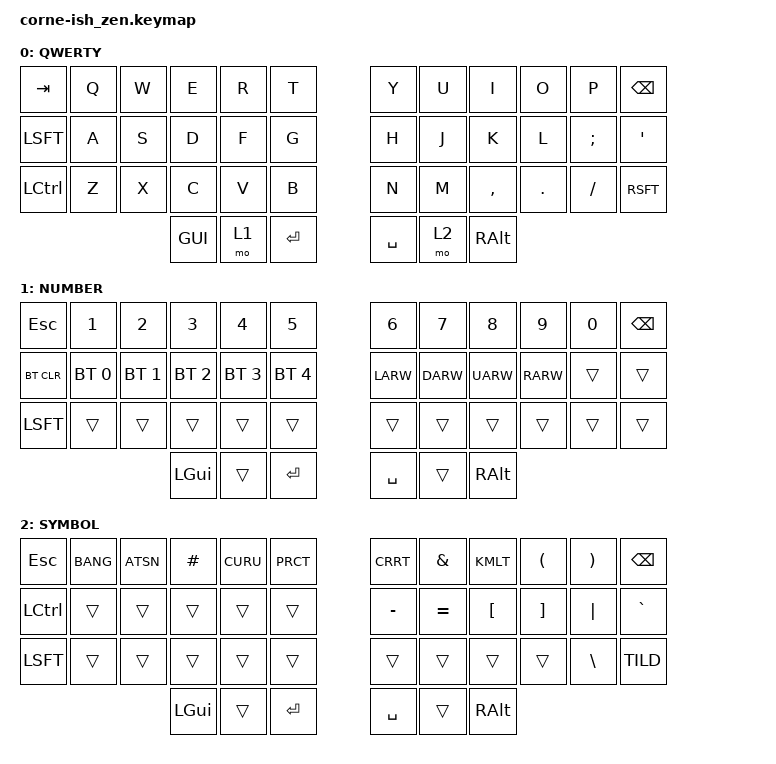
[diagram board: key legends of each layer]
/*
*
* Copyright (c) 2021 Darryl deHaan
* SPDX-License-Identifier: MIT
*
*/

#include <behaviors.dtsi>
#include <dt-bindings/zmk/keys.h>
#include <dt-bindings/zmk/bt.h>

/ {
        keymap {
                compatible = "zmk,keymap";

                default_layer {
                        label = "QWERTY";
// -----------------------------------------------------------------------------------------
// |  TAB |  Q  |  W  |  E  |  R  |  T  |   |  Y  |  U   |  I  |  O  |  P  | BKSP |
// | SHFT |  A  |  S  |  D  |  F  |  G  |   |  H  |  J   |  K  |  L  |  ;  |  '   |
// | CTRL |  Z  |  X  |  C  |  V  |  B  |   |  N  |  M   |  ,  |  .  |  /  | SHFT |
//                    | GUI | LWR | ENT |   | SPC | RSE  | ALT |
                        bindings = <
   &kp TAB  &kp Q &kp W &kp E &kp R &kp T   &kp Y &kp U  &kp I    &kp O   &kp P    &kp BKSP
   &kp LSFT &kp A &kp S &kp D &kp F &kp G   &kp H &kp J  &kp K    &kp L   &kp SCLN &kp QUOT
   &kp LCTL &kp Z &kp X &kp C &kp V &kp B   &kp N &kp M  &kp CMMA &kp DOT &kp FSLH &kp RSFT
                   &kp GUI &mo 1   &kp RET &kp SPC &mo 2 &kp RALT
                        >;
                };
                lower_layer {
                        label = "NUMBER";
// -----------------------------------------------------------------------------------------
// |  ESC |  1  |  2  |  3  |  4  |  5  |   |  6  |  7  |  8  |  9  |  0  | BKSP |
// | BTCLR| BT1 | BT2 | BT3 | BT4 | BT5 |   | LFT | DWN |  UP | RGT |     |      |
// | SHFT |     |     |     |     |     |   |     |     |     |     |     |      |
//                    | GUI |     | SPC |   | ENT |     | ALT |
                        bindings = <
   &kp ESC    &kp NUM_1    &kp NUM_2    &kp NUM_3    &kp NUM_4    &kp NUM_5         &kp NUM_6 &kp NUM_7 &kp NUM_8 &kp NUM_9 &kp NUM_0 &kp BKSP
   &bt BT_CLR &bt BT_SEL 0 &bt BT_SEL 1 &bt BT_SEL 2 &bt BT_SEL 3 &bt BT_SEL 4      &kp LARW  &kp DARW  &kp UARW  &kp RARW  &trans    &trans
   &kp LSFT   &trans       &trans       &trans       &trans       &trans            &trans    &trans    &trans    &trans    &trans    &trans
                                        &kp LGUI     &trans       &kp RET           &kp SPC   &trans &kp RALT
                        >;
                };

                raise_layer {
                        label = "SYMBOL";
// -----------------------------------------------------------------------------------------
// |  ESC |  !  |  @  |  #  |  $  |  %  |   |  ^  |  &  |  *  |  (  |  )  | BKSP |
// | CTRL |     |     |     |     |     |   |  -  |  =  |  {  |  }  | "|" |  `   |
// | SHFT |     |     |     |     |     |   |  _  |  +  |  [  |  ]  |  \  |  ~   | // TODO: Fix this row when &mkp is committed
//                    | GUI |     | SPC |   | ENT |     | ALT |
                        bindings = <
   &kp  ESC &kp BANG  &kp ATSN  &kp HASH  &kp CURU  &kp PRCT    &kp CRRT  &kp AMPS &kp KMLT &kp LPRN &kp RPRN &kp BKSP
   &kp LCTL &trans    &trans    &trans    &trans    &trans      &kp MINUS &kp EQL  &kp LBKT &kp RBKT &kp PIPE &kp GRAV
   &kp LSFT &trans    &trans    &trans    &trans    &trans      &trans    &trans   &trans   &trans   &kp BSLH &kp TILD
                                      &kp LGUI &trans &kp RET   &kp SPC   &trans &kp RALT
                        >;
                };
        };
};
